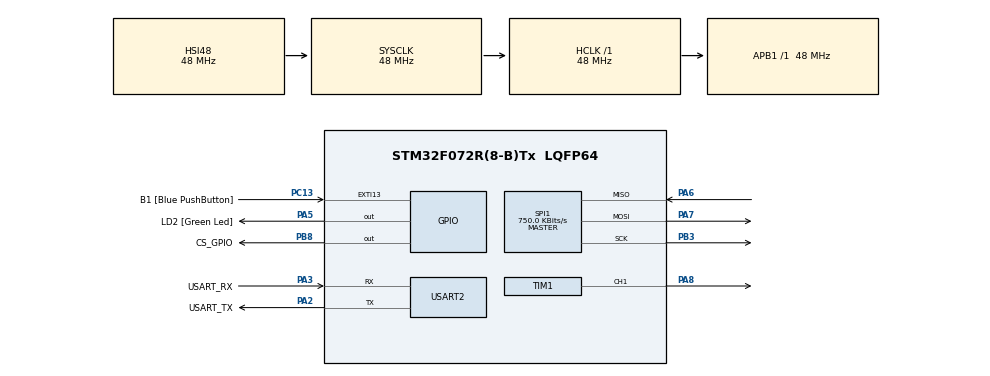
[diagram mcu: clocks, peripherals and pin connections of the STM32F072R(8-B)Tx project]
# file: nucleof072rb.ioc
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Mcu.Family=STM32F0
Mcu.Name=STM32F072R(8-B)Tx
Mcu.Package=LQFP64
PA13.GPIO_Label=TMS
PA13.Mode=Serial_Wire
PA13.Signal=SYS_SWDIO
PA14.GPIO_Label=TCK
PA14.Mode=Serial_Wire
PA14.Signal=SYS_SWCLK
PA2.GPIO_Label=USART_TX
PA2.GPIO_Mode=GPIO_MODE_AF_PP
PA2.GPIO_PuPd=GPIO_NOPULL
PA2.GPIO_Speed=GPIO_SPEED_FREQ_LOW
PA2.Mode=Asynchronous
PA2.Signal=USART2_TX
PA3.GPIO_Label=USART_RX
PA3.GPIO_Mode=GPIO_MODE_AF_PP
PA3.GPIO_PuPd=GPIO_NOPULL
PA3.GPIO_Speed=GPIO_SPEED_FREQ_LOW
PA3.Mode=Asynchronous
PA3.Signal=USART2_RX
PA5.GPIO_Label=LD2 [Green Led]
PA5.GPIO_Mode=GPIO_MODE_OUTPUT_PP
PA5.GPIO_PuPd=GPIO_NOPULL
PA5.GPIO_Speed=GPIO_SPEED_FREQ_LOW
PA5.Signal=GPIO_Output
PA6.Mode=Full_Duplex_Master
PA6.Signal=SPI1_MISO
PA7.Mode=Full_Duplex_Master
PA7.Signal=SPI1_MOSI
PA8.Signal=S_TIM1_CH1
PB3.Mode=Full_Duplex_Master
PB3.Signal=SPI1_SCK
PB8.GPIO_Label=CS_GPIO
PB8.Signal=GPIO_Output
PC13.GPIO_Label=B1 [Blue PushButton]
PC13.GPIO_ModeDefaultEXTI=GPIO_MODE_IT_FALLING
PC13.Signal=GPXTI13
PC14-OSC32_IN.Mode=LSE-External-Oscillator
PC14-OSC32_IN.Signal=RCC_OSC32_IN
PC15-OSC32_OUT.Mode=LSE-External-Oscillator
PC15-OSC32_OUT.Signal=RCC_OSC32_OUT
PF0-OSC_IN.Mode=HSE-External-Clock-Source
PF0-OSC_IN.Signal=RCC_OSC_IN
ProjectManager.HeapSize=0x200
ProjectManager.StackSize=0x400
ProjectManager.TargetToolchain=STM32CubeIDE
RCC.AHBFreq_Value=48000000
RCC.APB1Freq_Value=48000000
RCC.APB1TimFreq_Value=48000000
RCC.FLatency-AdvancedSettings=FLASH_LATENCY_1
RCC.HCLKFreq_Value=48000000
RCC.PLLDivider=RCC_PREDIV_DIV2
RCC.PLLMUL=RCC_PLL_MUL12
RCC.PREFETCH_ENABLE-AdvancedSettings=1
RCC.SYSCLKFreq_VALUE=48000000
RCC.SYSCLKSource=RCC_SYSCLKSOURCE_HSI48
SH.S_TIM1_CH1.0=TIM1_CH1,PWM Generation1 CH1
SPI1.BaudRatePrescaler=SPI_BAUDRATEPRESCALER_64
SPI1.CalculateBaudRate=750.0 KBits/s
SPI1.DataSize=SPI_DATASIZE_8BIT
SPI1.Direction=SPI_DIRECTION_2LINES
SPI1.Mode=SPI_MODE_MASTER
SPI1.VirtualType=VM_MASTER
TIM1.Channel-PWM\ Generation1\ CH1=TIM_CHANNEL_1
TIM1.Period=64000
TIM1.Prescaler=14
USART2.VirtualMode-Asynchronous=VM_ASYNC
VP_TIM1_VS_ClockSourceINT.Mode=Internal
board=NUCLEO-F072RB

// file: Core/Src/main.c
/* USER CODE BEGIN Header */
/**
  ******************************************************************************
  * @file           : main.c
  * @brief          : Main program body
  ******************************************************************************
  * @attention
  *
  * <h2><center>&copy; Copyright (c) 2021 STMicroelectronics.
  * All rights reserved.</center></h2>
  *
  * This software component is licensed by ST under BSD 3-Clause license,
  * the "License"; You may not use this file except in compliance with the
  * License. You may obtain a copy of the License at:
  *                        opensource.org/licenses/BSD-3-Clause
  *
  ******************************************************************************
  */
/* USER CODE END Header */
#include "main.h"
#include "spi.h"
#include "tim.h"
#include "usart.h"
#include "gpio.h"

/* USER CODE BEGIN PD */
#define PWM_OFFSET       3200
#define PWM_SCALER       3200
#define ADC_10BIT_MAX    1023
/* USER CODE END PD */

void SystemClock_Config(void);

int main(void)
{

  /* USER CODE BEGIN 1 */
	uint8_t transBuffer[3] = {0x01, 0x80, 0x00};
	uint8_t recBuffer[3];
	uint16_t adcVal = 0;
	uint32_t pwmValue;

  /* USER CODE END 1 */

  /* MCU Configuration--------------------------------------------------------*/

  /* Reset of all peripherals, Initializes the Flash interface and the Systick. */
  //HAL_Init();

  /* USER CODE BEGIN Init */
  HAL_Init();
  /* USER CODE END Init */

  /* Configure the system clock */
  SystemClock_Config();

  /* Initialize all configured peripherals */
  MX_GPIO_Init();
  MX_USART2_UART_Init();
  MX_SPI1_Init();
  MX_TIM1_Init();
  /* USER CODE BEGIN 2 */
HAL_TIM_PWM_Start(&htim1, TIM_CHANNEL_1);

  /* USER CODE END 2 */

  /* Infinite loop */
  /* USER CODE BEGIN WHILE */

  while (1)
  {
	  HAL_GPIO_WritePin(CS_GPIO_GPIO_Port, CS_GPIO_Pin, GPIO_PIN_RESET);

	  HAL_SPI_TransmitReceive(&hspi1,transBuffer,recBuffer,3,10 );

	  HAL_GPIO_WritePin(CS_GPIO_GPIO_Port, CS_GPIO_Pin, GPIO_PIN_SET);

	  adcVal=(recBuffer[1] & 0x03);
	  adcVal=adcVal<<8;
	  adcVal=adcVal|recBuffer[2];

	  //pwmValue=(adcValue*64000)/1000;

	  //pwmValue = 3200 + ((adcVal * 3200) / 1023);

	  pwmValue = PWM_OFFSET + ((adcVal * PWM_SCALER) / ADC_10BIT_MAX);

	 __HAL_TIM_SET_COMPARE(&htim1, TIM_CHANNEL_1, pwmValue);

	 HAL_Delay(10);

    /* USER CODE END WHILE */

  }
}

void SystemClock_Config(void)
{
  RCC_OscInitTypeDef RCC_OscInitStruct = {0};
  RCC_ClkInitTypeDef RCC_ClkInitStruct = {0};
  RCC_PeriphCLKInitTypeDef PeriphClkInit = {0};

  /** Initializes the RCC Oscillators according to the specified parameters
  * in the RCC_OscInitTypeDef structure.
  */
  RCC_OscInitStruct.OscillatorType = RCC_OSCILLATORTYPE_HSI48;
  RCC_OscInitStruct.HSI48State = RCC_HSI48_ON;
  RCC_OscInitStruct.PLL.PLLState = RCC_PLL_NONE;
  if (HAL_RCC_OscConfig(&RCC_OscInitStruct) != HAL_OK)
  {
    Error_Handler();
  }

  /** Initializes the CPU, AHB and APB buses clocks
  */
  RCC_ClkInitStruct.ClockType = RCC_CLOCKTYPE_HCLK|RCC_CLOCKTYPE_SYSCLK
                              |RCC_CLOCKTYPE_PCLK1;
  RCC_ClkInitStruct.SYSCLKSource = RCC_SYSCLKSOURCE_HSI48;
  RCC_ClkInitStruct.AHBCLKDivider = RCC_SYSCLK_DIV1;
  RCC_ClkInitStruct.APB1CLKDivider = RCC_HCLK_DIV1;

  if (HAL_RCC_ClockConfig(&RCC_ClkInitStruct, FLASH_LATENCY_1) != HAL_OK)
  {
    Error_Handler();
  }
  PeriphClkInit.PeriphClockSelection = RCC_PERIPHCLK_USART2;
  PeriphClkInit.Usart2ClockSelection = RCC_USART2CLKSOURCE_PCLK1;
  if (HAL_RCCEx_PeriphCLKConfig(&PeriphClkInit) != HAL_OK)
  {
    Error_Handler();
  }
}

void Error_Handler(void)
{
  __disable_irq();
  while (1)
  {
  }
}
